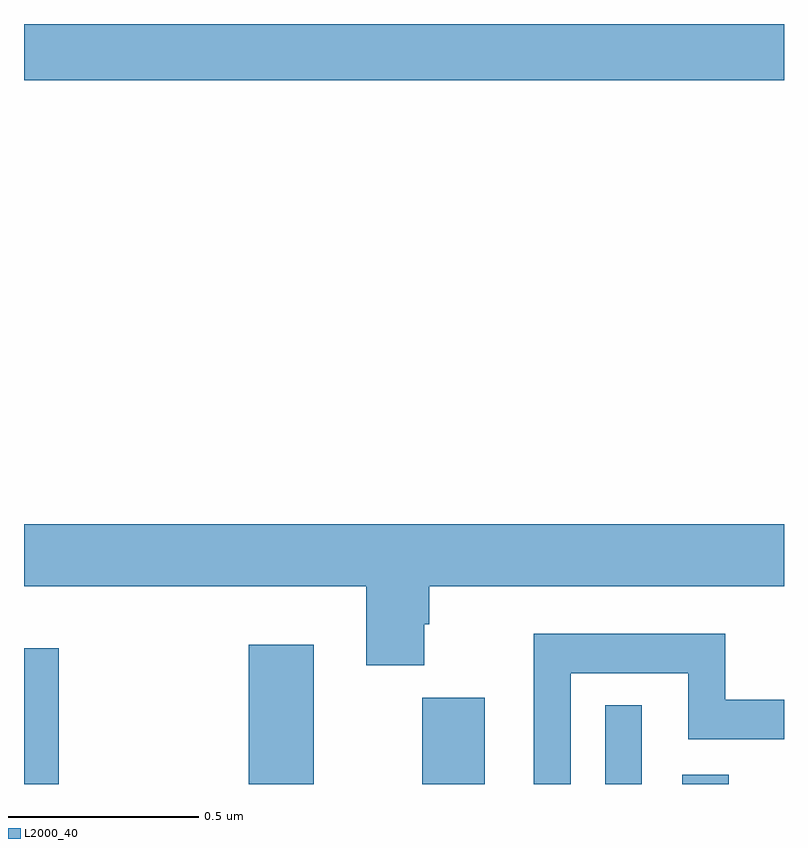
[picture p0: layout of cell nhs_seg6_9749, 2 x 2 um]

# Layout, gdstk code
import gdstk
lib = gdstk.Library(unit=1e-6, precision=1e-09)
def R(c, l, rs):  # rectangles x0, y0, x1, y1
    for r in rs: c.add(gdstk.rectangle(r[:2], r[2:], *l))
def P(c, l, *ps):  # polygons
    for p in ps: c.add(gdstk.Polygon(p, *l))
L2000_40 = (2000, 40)

nhs_seg6_9749 = lib.new_cell('nhs_seg6_9749')
R(nhs_seg6_9749, L2000_40, [(238,929.5,238.091,929.857), (238.592,929.5,238.762,929.866), (239.048,929.5,239.212,929.727), (239.529,929.5,239.625,929.707), (239.732,929.5,239.854,929.524), (238,931.352,240,931.5)])
P(nhs_seg6_9749, L2000_40, [(239.053,929.921),(239.066,929.921),(239.066,930.02),(240,930.02),(240,930.184),(238,930.184),(238,930.02),(238.901,930.02),(238.901,929.812),(239.053,929.812)],
  [(239.439,929.792),(239.748,929.792),(239.748,929.618),(240,929.618),(240,929.722),(239.846,929.722),(239.846,929.896),(239.342,929.896),(239.342,929.5),(239.439,929.5)])

lib.write_gds('nhs_seg6_9749.gds')
